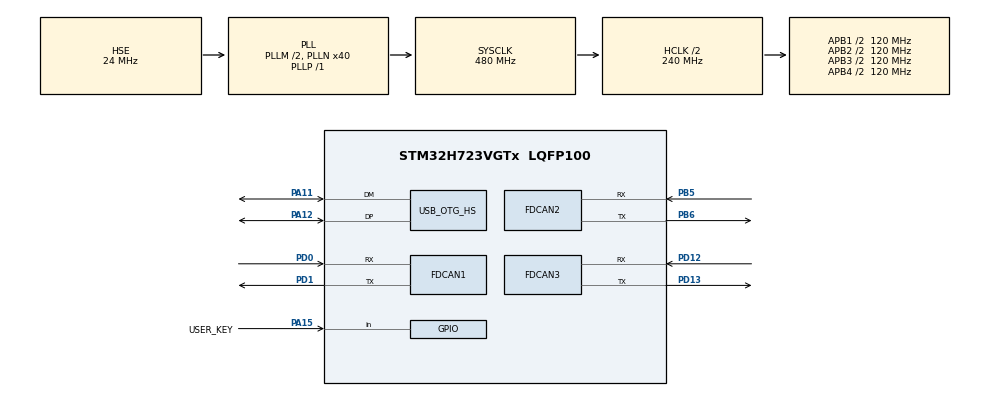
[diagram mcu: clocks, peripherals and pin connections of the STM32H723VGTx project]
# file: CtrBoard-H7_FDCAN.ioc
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CORTEX_M7.CPU_DCache=Enabled
CORTEX_M7.CPU_ICache=Enabled
FDCAN1.AutoRetransmission=ENABLE
FDCAN1.CalculateBaudRateNominal=1000000
FDCAN1.CalculateTimeBitNominal=1000
FDCAN1.CalculateTimeQuantumNominal=12.5
FDCAN1.DataSyncJumpWidth=2
FDCAN1.DataTimeSeg1=13
FDCAN1.DataTimeSeg2=2
FDCAN1.ExtFiltersNbr=4
FDCAN1.Mode=FDCAN_MODE_NORMAL
FDCAN1.NominalPrescaler=1
FDCAN1.NominalSyncJumpWidth=20
FDCAN1.NominalTimeSeg1=59
FDCAN1.NominalTimeSeg2=20
FDCAN1.ProtocolException=ENABLE
FDCAN1.RxBuffersNbr=2
FDCAN1.RxFifo0ElmtsNbr=8
FDCAN1.RxFifo1ElmtsNbr=8
FDCAN1.StdFiltersNbr=7
FDCAN1.TransmitPause=DISABLE
FDCAN1.TxBuffersNbr=8
FDCAN1.TxEventsNbr=8
FDCAN1.TxFifoQueueElmtsNbr=8
FDCAN2.AutoRetransmission=ENABLE
FDCAN2.CalculateBaudRateNominal=1000000
FDCAN2.CalculateTimeBitNominal=1000
FDCAN2.CalculateTimeQuantumNominal=12.5
FDCAN2.DataSyncJumpWidth=2
FDCAN2.DataTimeSeg1=13
FDCAN2.ExtFiltersNbr=4
FDCAN2.MessageRAMOffset=0x406
FDCAN2.Mode=FDCAN_MODE_NORMAL
FDCAN2.NominalPrescaler=1
FDCAN2.NominalSyncJumpWidth=20
FDCAN2.NominalTimeSeg1=59
FDCAN2.NominalTimeSeg2=20
FDCAN2.ProtocolException=ENABLE
FDCAN2.RxBuffersNbr=3
FDCAN2.RxFifo0ElmtsNbr=8
FDCAN2.RxFifo1ElmtsNbr=8
FDCAN2.StdFiltersNbr=4
FDCAN2.TxBuffersNbr=8
FDCAN2.TxEventsNbr=8
FDCAN2.TxFifoQueueElmtsNbr=8
FDCAN3.CalculateBaudRateNominal=1000000
FDCAN3.CalculateTimeBitNominal=1000
FDCAN3.CalculateTimeQuantumNominal=12.5
FDCAN3.DataSyncJumpWidth=2
FDCAN3.DataTimeSeg1=13
FDCAN3.DataTimeSeg2=2
FDCAN3.ExtFiltersNbr=4
FDCAN3.MessageRAMOffset=0x812
FDCAN3.Mode=FDCAN_MODE_NORMAL
FDCAN3.NominalPrescaler=1
FDCAN3.NominalSyncJumpWidth=20
FDCAN3.NominalTimeSeg1=59
FDCAN3.NominalTimeSeg2=20
FDCAN3.RxBuffersNbr=2
FDCAN3.RxFifo0ElmtsNbr=8
FDCAN3.RxFifo1ElmtsNbr=8
FDCAN3.StdFiltersNbr=4
FDCAN3.TxBuffersNbr=8
FDCAN3.TxEventsNbr=8
FDCAN3.TxFifoQueueElmtsNbr=8
FREERTOS.INCLUDE_uxTaskGetStackHighWaterMark=1
FREERTOS.INCLUDE_vTaskDelayUntil=1
FREERTOS.Tasks01=ArmControlTask,3,768,StartArmControlTask,Default,NULL,Static,armControlTaskBuffer,armControlTaskControlBlock;CanRxTask,3,384,StartCanRxTask,Default,NULL,Static,canRxTaskBuffer,canRxTaskControlBlock;ProtocolTask,2,1280,StartProtocolTask,Default,NULL,Static,protocolTaskBuffer,protocolTaskControlBlock;UsbTxTask,1,384,StartUsbTxTask,Default,NULL,Static,usbTxTaskBuffer,usbTxTaskControlBlock;TelemetryTask,0,1024,StartTelemetryTask,Default,NULL,Static,telemetryTaskBuffer,telemetryTaskControlBlock;DiagnosticsTask,-1,384,StartDiagnosticsTask,Default,NULL,Static,diagnosticsTaskBuffer,diagnosticsTaskControlBlock
Mcu.Family=STM32H7
Mcu.Name=STM32H723VGTx
Mcu.Package=LQFP100
NVIC.FDCAN1_IT0_IRQn=true\:5\:0\:false\:false\:true\:true\:true\:true\:true
NVIC.FDCAN1_IT1_IRQn=true\:5\:0\:false\:false\:true\:true\:true\:true\:true
NVIC.FDCAN2_IT0_IRQn=true\:5\:0\:false\:false\:true\:true\:true\:true\:true
NVIC.FDCAN2_IT1_IRQn=true\:5\:0\:false\:false\:true\:true\:true\:true\:true
NVIC.FDCAN3_IT0_IRQn=true\:5\:0\:false\:false\:true\:true\:true\:true\:true
NVIC.FDCAN3_IT1_IRQn=true\:5\:0\:false\:false\:true\:true\:true\:true\:true
NVIC.OTG_HS_IRQn=true\:5\:0\:false\:false\:true\:true\:false\:true\:true
NVIC.PriorityGroup=NVIC_PRIORITYGROUP_4
NVIC.TIM23_IRQn=true\:15\:0\:false\:false\:true\:false\:false\:true\:true
NVIC.TimeBase=TIM23_IRQn
NVIC.TimeBaseIP=TIM23
PA11.Mode=Device_Only_FS
PA11.Signal=USB_OTG_HS_DM
PA12.Mode=Device_Only_FS
PA12.Signal=USB_OTG_HS_DP
PA13(JTMS/SWDIO).Mode=Serial_Wire
PA13(JTMS/SWDIO).Signal=DEBUG_JTMS-SWDIO
PA14(JTCK/SWCLK).Mode=Serial_Wire
PA14(JTCK/SWCLK).Signal=DEBUG_JTCK-SWCLK
PA15(JTDI).GPIO_Label=USER_KEY
PA15(JTDI).Signal=GPIO_Input
PB5.Mode=FDCAN_Activate
PB5.Signal=FDCAN2_RX
PB6.Mode=FDCAN_Activate
PB6.Signal=FDCAN2_TX
PD0.Mode=FDCAN_Activate
PD0.Signal=FDCAN1_RX
PD1.Mode=FDCAN_Activate
PD1.Signal=FDCAN1_TX
PD12.Mode=FDCAN_Activate
PD12.Signal=FDCAN3_RX
PD13.Mode=FDCAN_Activate
PD13.Signal=FDCAN3_TX
PH0-OSC_IN.Mode=HSE-External-Oscillator
PH0-OSC_IN.Signal=RCC_OSC_IN
PH1-OSC_OUT.Mode=HSE-External-Oscillator
PH1-OSC_OUT.Signal=RCC_OSC_OUT
ProjectManager.HeapSize=0x200
ProjectManager.StackSize=0x400
ProjectManager.TargetToolchain=MDK-ARM V5.32
RCC.ADCFreq_Value=48375000
RCC.APB1Freq_Value=120000000
RCC.APB2Freq_Value=120000000
RCC.APB3Freq_Value=120000000
RCC.APB4Freq_Value=120000000
RCC.CortexFreq_Value=480000000
RCC.D1PPRE=RCC_APB3_DIV2
RCC.D2PPRE1=RCC_APB1_DIV2
RCC.D2PPRE2=RCC_APB2_DIV2
RCC.D3PPRE=RCC_APB4_DIV2
RCC.DIVM1=2
RCC.DIVN1=40
RCC.DIVP1=1
RCC.DIVQ1=6
RCC.HCLKFreq_Value=240000000
RCC.HPRE=RCC_HCLK_DIV2
RCC.HSE_VALUE=24000000
RCC.PLLFRACN=0
RCC.PLLSourceVirtual=RCC_PLLSOURCE_HSE
RCC.SYSCLKFreq_VALUE=480000000
RCC.SYSCLKSource=RCC_SYSCLKSOURCE_PLLCLK
RCC.USBCLockSelection=RCC_USBCLKSOURCE_HSI48
RCC.USBFreq_Value=48000000
USB_DEVICE.CLASS_NAME_HS=CDC
USB_DEVICE.VirtualMode=Cdc
USB_DEVICE.VirtualModeHS=Cdc_HS
USB_OTG_HS.VirtualMode-Device_Only_FS=Device_Only_FS
VP_FREERTOS_VS_CMSIS_V1.Mode=CMSIS_V1
VP_SYS_VS_tim23.Mode=TIM23
VP_USB_DEVICE_VS_USB_DEVICE_CDC_HS.Mode=CDC_HS
board=custom

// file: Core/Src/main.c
/* USER CODE BEGIN Header */
/**
  ******************************************************************************
  * @file           : main.c
  * @brief          : Main program body
  ******************************************************************************
  * @attention
  *
  * Copyright (c) 2024 STMicroelectronics.
  * All rights reserved.
  *
  * This software is licensed under terms that can be found in the LICENSE file
  * in the root directory of this software component.
  * If no LICENSE file comes with this software, it is provided AS-IS.
  *
  ******************************************************************************
  */
/* USER CODE END Header */
#include "main.h"
#include "cmsis_os.h"
#include "fdcan.h"
#include "usb_device.h"
#include "gpio.h"

/* USER CODE BEGIN Includes */
#include "aethor_app.h"
#include "arm_config.h"
#include "stm32_platform.h"
/* USER CODE END Includes */

void SystemClock_Config(void);
void MX_FREERTOS_Init(void);
/* USER CODE BEGIN PFP */
static uint32_t CreateBootId(void);

/* USER CODE END PFP */

int main(void)
{

  /* Enable the CPU Cache */

  /* Enable I-Cache---------------------------------------------------------*/
  SCB_EnableICache();

  /* Enable D-Cache---------------------------------------------------------*/
  SCB_EnableDCache();

  /* MCU Configuration--------------------------------------------------------*/

  /* Reset of all peripherals, Initializes the Flash interface and the Systick. */
  HAL_Init();

  /* Configure the system clock */
  SystemClock_Config();

  /* Initialize all configured peripherals */
  MX_GPIO_Init();
  MX_FDCAN1_Init();
  MX_FDCAN2_Init();
  MX_FDCAN3_Init();
  /* USER CODE BEGIN 2 */
  (void)stm32_platform_init(arm_config_get_production());
  aethor_app_init((uint64_t)HAL_GetTick() * 1000ULL, CreateBootId());
  /* USER CODE END 2 */

  /* Call init function for freertos objects (in cmsis_os2.c) */
  MX_FREERTOS_Init();

  /* Start scheduler */
  osKernelStart();

  /* We should never get here as control is now taken by the scheduler */

  /* Infinite loop */
  while (1)
  {

  }
}

void SystemClock_Config(void)
{
  RCC_OscInitTypeDef RCC_OscInitStruct = {0};
  RCC_ClkInitTypeDef RCC_ClkInitStruct = {0};

  /** Supply configuration update enable
  */
  HAL_PWREx_ConfigSupply(PWR_LDO_SUPPLY);

  /** Configure the main internal regulator output voltage
  */
  __HAL_PWR_VOLTAGESCALING_CONFIG(PWR_REGULATOR_VOLTAGE_SCALE0);

  while(!__HAL_PWR_GET_FLAG(PWR_FLAG_VOSRDY)) {}

  /** Initializes the RCC Oscillators according to the specified parameters
  * in the RCC_OscInitTypeDef structure.
  */
  RCC_OscInitStruct.OscillatorType = RCC_OSCILLATORTYPE_HSI48|RCC_OSCILLATORTYPE_HSE;
  RCC_OscInitStruct.HSEState = RCC_HSE_ON;
  RCC_OscInitStruct.HSI48State = RCC_HSI48_ON;
  RCC_OscInitStruct.PLL.PLLState = RCC_PLL_ON;
  RCC_OscInitStruct.PLL.PLLSource = RCC_PLLSOURCE_HSE;
  RCC_OscInitStruct.PLL.PLLM = 2;
  RCC_OscInitStruct.PLL.PLLN = 40;
  RCC_OscInitStruct.PLL.PLLP = 1;
  RCC_OscInitStruct.PLL.PLLQ = 6;
  RCC_OscInitStruct.PLL.PLLR = 2;
  RCC_OscInitStruct.PLL.PLLRGE = RCC_PLL1VCIRANGE_3;
  RCC_OscInitStruct.PLL.PLLVCOSEL = RCC_PLL1VCOWIDE;
  RCC_OscInitStruct.PLL.PLLFRACN = 0;
  if (HAL_RCC_OscConfig(&RCC_OscInitStruct) != HAL_OK)
  {
    Error_Handler();
  }

  /** Initializes the CPU, AHB and APB buses clocks
  */
  RCC_ClkInitStruct.ClockType = RCC_CLOCKTYPE_HCLK|RCC_CLOCKTYPE_SYSCLK
                              |RCC_CLOCKTYPE_PCLK1|RCC_CLOCKTYPE_PCLK2
                              |RCC_CLOCKTYPE_D3PCLK1|RCC_CLOCKTYPE_D1PCLK1;
  RCC_ClkInitStruct.SYSCLKSource = RCC_SYSCLKSOURCE_PLLCLK;
  RCC_ClkInitStruct.SYSCLKDivider = RCC_SYSCLK_DIV1;
  RCC_ClkInitStruct.AHBCLKDivider = RCC_HCLK_DIV2;
  RCC_ClkInitStruct.APB3CLKDivider = RCC_APB3_DIV2;
  RCC_ClkInitStruct.APB1CLKDivider = RCC_APB1_DIV2;
  RCC_ClkInitStruct.APB2CLKDivider = RCC_APB2_DIV2;
  RCC_ClkInitStruct.APB4CLKDivider = RCC_APB4_DIV2;

  if (HAL_RCC_ClockConfig(&RCC_ClkInitStruct, FLASH_LATENCY_3) != HAL_OK)
  {
    Error_Handler();
  }
}

/* USER CODE BEGIN 4 */

/**
  * @brief  Creates a nonzero per-boot correlation identifier from local MCU state.
  * @retval Nonzero boot identifier used by the serial protocol.
  */
static uint32_t CreateBootId(void)
{
  uint32_t bootId = HAL_GetUIDw0() ^ HAL_GetUIDw1() ^ HAL_GetUIDw2() ^
                    HAL_GetTick() ^ SysTick->VAL ^ DWT->CYCCNT ^ 0xA37E2026UL;

  if (bootId == 0U)
  {
    bootId = 1U;
  }
  return bootId;
}

/* USER CODE END 4 */

void HAL_TIM_PeriodElapsedCallback(TIM_HandleTypeDef *htim)
{
  if (htim->Instance == TIM23) {
    HAL_IncTick();
  }
}

void Error_Handler(void)
{
  __disable_irq();
  while (1)
  {
  }
}

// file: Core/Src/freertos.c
/* USER CODE BEGIN Header */
/**
  ******************************************************************************
  * File Name          : freertos.c
  * Description        : Code for freertos applications
  ******************************************************************************
  * @attention
  *
  * Copyright (c) 2026 STMicroelectronics.
  * All rights reserved.
  *
  * This software is licensed under terms that can be found in the LICENSE file
  * in the root directory of this software component.
  * If no LICENSE file comes with this software, it is provided AS-IS.
  *
  ******************************************************************************
  */
/* USER CODE END Header */

#include "FreeRTOS.h"
#include "task.h"
#include "main.h"
#include "cmsis_os.h"

/* USER CODE BEGIN Includes */
#include "aethor_app.h"
#include "monotonic_time.h"
#include "stm32_platform.h"
#include <string.h>
/* USER CODE END Includes */

/* USER CODE BEGIN Variables */
static AethorMonotonicTimeState aethorMonotonicTimeState;
/* USER CODE END Variables */
osThreadId ArmControlTaskHandle;
uint32_t armControlTaskBuffer[ 768 ];
osStaticThreadDef_t armControlTaskControlBlock;
osThreadId CanRxTaskHandle;
uint32_t canRxTaskBuffer[ 384 ];
osStaticThreadDef_t canRxTaskControlBlock;
osThreadId ProtocolTaskHandle;
uint32_t protocolTaskBuffer[ 1280 ];
osStaticThreadDef_t protocolTaskControlBlock;
osThreadId UsbTxTaskHandle;
uint32_t usbTxTaskBuffer[ 384 ];
osStaticThreadDef_t usbTxTaskControlBlock;
osThreadId TelemetryTaskHandle;
uint32_t telemetryTaskBuffer[ 1024 ];
osStaticThreadDef_t telemetryTaskControlBlock;
osThreadId DiagnosticsTaskHandle;
uint32_t diagnosticsTaskBuffer[ 384 ];
osStaticThreadDef_t diagnosticsTaskControlBlock;

/* USER CODE BEGIN FunctionPrototypes */
static void NotifyCanRxTaskFromIsr(void);
static void NotifyProtocolTaskFromIsr(void);
static void NotifyUsbTxTaskFromIsr(void);
static void QueueProtocolOutputBatch(const ProtocolOutputBatch *outputBatch);
static uint64_t AethorMonotonicTimestampUs(void);
static void EnterAethorAppTaskCritical(void);
static void ExitAethorAppTaskCritical(void);

/* USER CODE END FunctionPrototypes */

void StartArmControlTask(void const * argument);
void StartCanRxTask(void const * argument);
void StartProtocolTask(void const * argument);
void StartUsbTxTask(void const * argument);
void StartTelemetryTask(void const * argument);
void StartDiagnosticsTask(void const * argument);

extern void MX_USB_DEVICE_Init(void);
void MX_FREERTOS_Init(void); /* (MISRA C 2004 rule 8.1) */

/* GetIdleTaskMemory prototype (linked to static allocation support) */
void vApplicationGetIdleTaskMemory( StaticTask_t **ppxIdleTaskTCBBuffer, StackType_t **ppxIdleTaskStackBuffer, uint32_t *pulIdleTaskStackSize );

/* USER CODE BEGIN GET_IDLE_TASK_MEMORY */
static StaticTask_t xIdleTaskTCBBuffer;
static StackType_t xIdleStack[configMINIMAL_STACK_SIZE];

void vApplicationGetIdleTaskMemory( StaticTask_t **ppxIdleTaskTCBBuffer, StackType_t **ppxIdleTaskStackBuffer, uint32_t *pulIdleTaskStackSize )
{
  *ppxIdleTaskTCBBuffer = &xIdleTaskTCBBuffer;
  *ppxIdleTaskStackBuffer = &xIdleStack[0];
  *pulIdleTaskStackSize = configMINIMAL_STACK_SIZE;
  /* place for user code */
}
/* USER CODE END GET_IDLE_TASK_MEMORY */

void MX_FREERTOS_Init(void) {
  /* USER CODE BEGIN Init */
  aethor_app_set_task_critical_hooks(EnterAethorAppTaskCritical,
                                     ExitAethorAppTaskCritical);

  /* USER CODE END Init */

  /* Create the thread(s) */
  /* definition and creation of ArmControlTask */
  osThreadStaticDef(ArmControlTask, StartArmControlTask, osPriorityRealtime, 0, 768, armControlTaskBuffer, &armControlTaskControlBlock);
  ArmControlTaskHandle = osThreadCreate(osThread(ArmControlTask), NULL);

  /* definition and creation of CanRxTask */
  osThreadStaticDef(CanRxTask, StartCanRxTask, osPriorityHigh, 0, 384, canRxTaskBuffer, &canRxTaskControlBlock);
  CanRxTaskHandle = osThreadCreate(osThread(CanRxTask), NULL);

  /* definition and creation of ProtocolTask */
  osThreadStaticDef(ProtocolTask, StartProtocolTask, osPriorityAboveNormal, 0, 1280, protocolTaskBuffer, &protocolTaskControlBlock);
  ProtocolTaskHandle = osThreadCreate(osThread(ProtocolTask), NULL);

  /* definition and creation of UsbTxTask */
  osThreadStaticDef(UsbTxTask, StartUsbTxTask, osPriorityNormal, 0, 384, usbTxTaskBuffer, &usbTxTaskControlBlock);
  UsbTxTaskHandle = osThreadCreate(osThread(UsbTxTask), NULL);

  /* definition and creation of TelemetryTask */
  osThreadStaticDef(TelemetryTask, StartTelemetryTask, osPriorityBelowNormal, 0, 1024, telemetryTaskBuffer, &telemetryTaskControlBlock);
  TelemetryTaskHandle = osThreadCreate(osThread(TelemetryTask), NULL);

  /* definition and creation of DiagnosticsTask */
  osThreadStaticDef(DiagnosticsTask, StartDiagnosticsTask, osPriorityLow, 0, 384, diagnosticsTaskBuffer, &diagnosticsTaskControlBlock);
  DiagnosticsTaskHandle = osThreadCreate(osThread(DiagnosticsTask), NULL);

  /* USER CODE BEGIN RTOS_THREADS */
  configASSERT(ArmControlTaskHandle != NULL);
  configASSERT(CanRxTaskHandle != NULL);
  configASSERT(ProtocolTaskHandle != NULL);
  configASSERT(UsbTxTaskHandle != NULL);
  configASSERT(TelemetryTaskHandle != NULL);
  configASSERT(DiagnosticsTaskHandle != NULL);
  stm32_platform_set_isr_notifiers(NotifyCanRxTaskFromIsr,
                                   NotifyProtocolTaskFromIsr,
                                   NotifyUsbTxTaskFromIsr);
  /* USER CODE END RTOS_THREADS */

}

/* USER CODE BEGIN Header_StartArmControlTask */
/**
  * @brief  Runs the 4 ms absolute-period arm control service.
  * @param  argument: Not used
  * @retval None
  */
/* USER CODE END Header_StartArmControlTask */
void StartArmControlTask(void const * argument)
{
  /* USER CODE BEGIN StartArmControlTask */
  TickType_t lastWakeTime = xTaskGetTickCount();

  (void)argument;
  for(;;)
  {
    uint64_t timestampUs = AethorMonotonicTimestampUs();
    CanFrame pendingFrame;
    CanFrame controlGroup[ARM_JOINT_COUNT];
    CanTxPriority pendingPriority;

    if ((aethor_app_service(timestampUs) != 0U) &&
        (ProtocolTaskHandle != NULL))
    {
      (void)xTaskNotifyGive((TaskHandle_t)ProtocolTaskHandle);
    }
    while (aethor_app_pop_emergency_can_frame(&pendingFrame) != 0U)
    {
      (void)stm32_platform_can_submit(CAN_TX_PRIORITY_EMERGENCY,
                                      &pendingFrame);
    }
    if (aethor_app_pop_control_group(controlGroup) != 0U)
    {
      CanTxSchedulerStatus controlGroupStatus =
          stm32_platform_can_submit_control_group(controlGroup,
                                                  ARM_JOINT_COUNT);

      if ((controlGroupStatus != CAN_TX_SCHEDULER_STATUS_OK) &&
          (aethor_app_report_control_group_failure(controlGroupStatus,
                                                   timestampUs) != 0U) &&
          (ProtocolTaskHandle != NULL))
      {
        (void)xTaskNotifyGive((TaskHandle_t)ProtocolTaskHandle);
      }
    }
    if (aethor_app_next_can_frame(timestampUs,
                                  &pendingFrame,
                                  &pendingPriority) ==
        MOTOR_RUNTIME_STATUS_FRAME_READY)
    {
      (void)stm32_platform_can_submit(pendingPriority, &pendingFrame);
    }
    (void)stm32_platform_can_service_tx(ARM_JOINT_COUNT);
    vTaskDelayUntil(&lastWakeTime, pdMS_TO_TICKS(4U));
  }
  /* USER CODE END StartArmControlTask */
}

/* USER CODE BEGIN Header_StartCanRxTask */
/**
  * @brief  Waits for FDCAN RX notification before bounded task-context decode.
  * @param  argument: Not used
  * @retval None
  */
/* USER CODE END Header_StartCanRxTask */
void StartCanRxTask(void const * argument)
{
  (void)argument;
  for(;;)
  {
    uint8_t processedFrameCount = 0U;
    CanFrame receivedFrame;

    while ((processedFrameCount < CAN_RX_INBOX_CAPACITY) &&
           (stm32_platform_can_pop_received(&receivedFrame) ==
            CAN_RX_INBOX_STATUS_OK))
    {
      uint64_t timestampUs = AethorMonotonicTimestampUs();

      taskENTER_CRITICAL();
      (void)aethor_app_receive_can_frame(&receivedFrame, timestampUs);
      taskEXIT_CRITICAL();
      ++processedFrameCount;
    }
    if (processedFrameCount < CAN_RX_INBOX_CAPACITY)
    {
      (void)ulTaskNotifyTake(pdTRUE, portMAX_DELAY);
    }
    else
    {
      taskYIELD();
    }
  }
}

/* USER CODE BEGIN Header_StartProtocolTask */
/**
  * @brief  Owns USB startup and waits for complete protocol input work.
  * @param  argument: Not used
  * @retval None
  */
/* USER CODE END Header_StartProtocolTask */
void StartProtocolTask(void const * argument)
{
  char protocolLine[USB_CDC_STREAM_LINE_CAPACITY];
  ProtocolOutputBatch outputBatch;

  MX_USB_DEVICE_Init();
  (void)argument;
  for(;;)
  {
    UsbCdcStreamStatus lineStatus;

    (void)ulTaskNotifyTake(pdTRUE, portMAX_DELAY);
    while (aethor_app_pop_protocol_result_output(&outputBatch) != 0U)
    {
      QueueProtocolOutputBatch(&outputBatch);
    }
    do
    {
      uint16_t lineLength = 0U;

      lineStatus = stm32_platform_usb_next_line(protocolLine,
                                                sizeof(protocolLine),
                                                &lineLength);
      if (lineStatus == USB_CDC_STREAM_STATUS_OK)
      {
        (void)aethor_app_process_protocol_line(
            protocolLine,
            lineLength,
            AethorMonotonicTimestampUs(),
            &outputBatch);
        QueueProtocolOutputBatch(&outputBatch);
      }
      else if (lineStatus == USB_CDC_STREAM_STATUS_LINE_TOO_LONG)
      {
        if (aethor_app_format_line_too_long(&outputBatch) ==
            PROTOCOL_ENGINE_STATUS_OK)
        {
          QueueProtocolOutputBatch(&outputBatch);
        }
      }
    } while ((lineStatus == USB_CDC_STREAM_STATUS_OK) ||
             (lineStatus == USB_CDC_STREAM_STATUS_LINE_TOO_LONG));
  }
}

/* USER CODE BEGIN Header_StartUsbTxTask */
/**
  * @brief  Services priority-ordered USB CDC output without blocking control.
  * @param  argument: Not used
  * @retval None
  */
/* USER CODE END Header_StartUsbTxTask */
void StartUsbTxTask(void const * argument)
{
  (void)argument;
  for(;;)
  {
    (void)ulTaskNotifyTake(pdTRUE, pdMS_TO_TICKS(1U));
    stm32_platform_usb_service_tx();
  }
}

/* USER CODE BEGIN Header_StartTelemetryTask */
/**
  * @brief  Reserves the default 50 Hz telemetry publication cadence.
  * @param  argument: Not used
  * @retval None
  */
/* USER CODE END Header_StartTelemetryTask */
void StartTelemetryTask(void const * argument)
{
  TickType_t lastWakeTime = xTaskGetTickCount();

  (void)argument;
  for(;;)
  {
    ProtocolOutputBatch outputBatch;

    if (aethor_app_generate_stream_output(
            AethorMonotonicTimestampUs(),
            &outputBatch) != 0U)
    {
      QueueProtocolOutputBatch(&outputBatch);
    }
    vTaskDelayUntil(&lastWakeTime, pdMS_TO_TICKS(10U));
  }
}

/* USER CODE BEGIN Header_StartDiagnosticsTask */
/**
  * @brief  Reserves the 100 ms diagnostics aggregation cadence.
  * @param  argument: Not used
  * @retval None
  */
/* USER CODE END Header_StartDiagnosticsTask */
void StartDiagnosticsTask(void const * argument)
{
  TickType_t lastWakeTime = xTaskGetTickCount();
  uint32_t previousCanRxOverflowCount = 0U;
  uint32_t previousCanBusOffCount = 0U;
  uint32_t previousUsbHighQueueFullCount = 0U;

  (void)argument;
  for(;;)
  {
    const Stm32PlatformDiagnostics *platformDiagnostics =
        stm32_platform_get_diagnostics();
    RuntimeDiagnosticSample runtimeSample;
    TaskHandle_t applicationTaskHandles[6];
    uint32_t minimumStackWords = UINT32_MAX;
    uint8_t taskIndex;

    memset(&runtimeSample, 0, sizeof(runtimeSample));
    applicationTaskHandles[0] = (TaskHandle_t)ArmControlTaskHandle;
    applicationTaskHandles[1] = (TaskHandle_t)CanRxTaskHandle;
    applicationTaskHandles[2] = (TaskHandle_t)ProtocolTaskHandle;
    applicationTaskHandles[3] = (TaskHandle_t)UsbTxTaskHandle;
    applicationTaskHandles[4] = (TaskHandle_t)TelemetryTaskHandle;
    applicationTaskHandles[5] = (TaskHandle_t)DiagnosticsTaskHandle;
    for (taskIndex = 0U; taskIndex < 6U; ++taskIndex)
    {
      if (applicationTaskHandles[taskIndex] != NULL)
      {
        UBaseType_t stackWords = uxTaskGetStackHighWaterMark(
            applicationTaskHandles[taskIndex]);

        if ((uint32_t)stackWords < minimumStackWords)
        {
          minimumStackWords = (uint32_t)stackWords;
        }
      }
    }
    runtimeSample.can_rx_frames = platformDiagnostics->can_rx_frame_count;
    runtimeSample.can_tx_frames = platformDiagnostics->can_tx_success_count;
    runtimeSample.can_rx_overflow_count =
        platformDiagnostics->can_rx_overflow_count;
    runtimeSample.can_tx_error_count = platformDiagnostics->can_tx_error_count;
    runtimeSample.can_bus_off_count = platformDiagnostics->can_bus_off_count;
    runtimeSample.can_tx_queue_high_watermark =
        platformDiagnostics->can_tx_queue_high_watermark;
    runtimeSample.control_group_reject_count =
        platformDiagnostics->control_group_reject_count;
    runtimeSample.usb_rx_bytes = platformDiagnostics->usb_rx_byte_count;
    runtimeSample.usb_rx_overflow_count =
        platformDiagnostics->usb_rx_overflow_count;
    runtimeSample.usb_overlong_line_count =
        platformDiagnostics->usb_overlong_line_count;
    runtimeSample.usb_high_queue_high_watermark =
        platformDiagnostics->usb_high_queue_high_watermark;
    runtimeSample.usb_query_queue_high_watermark =
        platformDiagnostics->usb_query_queue_high_watermark;
    runtimeSample.usb_telemetry_queue_high_watermark =
        platformDiagnostics->usb_telemetry_queue_high_watermark;
    runtimeSample.usb_telemetry_drop_count =
        platformDiagnostics->usb_telemetry_drop_count;
    runtimeSample.usb_high_queue_full_count =
        platformDiagnostics->usb_high_queue_full_count;
    runtimeSample.usb_transmit_busy_count =
        platformDiagnostics->usb_transmit_busy_count;
    runtimeSample.usb_transmit_error_count =
        platformDiagnostics->usb_transmit_error_count;
    runtimeSample.control_group_skew_max_us =
        DIAGNOSTIC_WATERMARK_NOT_SAMPLED;
    runtimeSample.minimum_stack_words = minimumStackWords;
    runtimeSample.minimum_heap_bytes = (uint32_t)xPortGetFreeHeapSize();
    aethor_app_update_runtime_diagnostics(&runtimeSample);
    {
      uint32_t transportFaultDetail = 0U;

      if (platformDiagnostics->can_rx_overflow_count >
          previousCanRxOverflowCount)
      {
        transportFaultDetail |= 1U;
      }
      if (platformDiagnostics->can_bus_off_count > previousCanBusOffCount)
      {
        transportFaultDetail |= 2U;
      }
      if (platformDiagnostics->usb_high_queue_full_count >
          previousUsbHighQueueFullCount)
      {
        transportFaultDetail |= 4U;
      }
      previousCanRxOverflowCount =
          platformDiagnostics->can_rx_overflow_count;
      previousCanBusOffCount = platformDiagnostics->can_bus_off_count;
      previousUsbHighQueueFullCount =
          platformDiagnostics->usb_high_queue_full_count;
      if ((transportFaultDetail != 0U) &&
           (aethor_app_report_transport_fault(
                transportFaultDetail,
                AethorMonotonicTimestampUs()) != 0U) &&
          (ArmControlTaskHandle != NULL))
      {
        (void)xTaskNotifyGive((TaskHandle_t)ArmControlTaskHandle);
      }
    }
    vTaskDelayUntil(&lastWakeTime, pdMS_TO_TICKS(100U));
  }
}

/* USER CODE BEGIN Application */

/** @brief Enters the scheduler boundary shared by app query readers. */
static void EnterAethorAppTaskCritical(void)
{
  taskENTER_CRITICAL();
}

/** @brief Exits the scheduler boundary shared by app query readers. */
static void ExitAethorAppTaskCritical(void)
{
  taskEXIT_CRITICAL();
}

/**
 * @brief Returns one shared 64-bit timestamp extended from the wrapping HAL tick.
 * @return Monotonic timestamp in microseconds.
 */
static uint64_t AethorMonotonicTimestampUs(void)
{
  uint64_t timestampUs;

  taskENTER_CRITICAL();
  timestampUs = aethor_monotonic_time_update(&aethorMonotonicTimeState,
                                              HAL_GetTick());
  taskEXIT_CRITICAL();
  return timestampUs;
}

/** @brief Wakes CanRxTask from the FDCAN receive callback. */
static void NotifyCanRxTaskFromIsr(void)
{
  BaseType_t higherPriorityTaskWoken = pdFALSE;

  if (CanRxTaskHandle != NULL)
  {
    vTaskNotifyGiveFromISR((TaskHandle_t)CanRxTaskHandle, &higherPriorityTaskWoken);
    portYIELD_FROM_ISR(higherPriorityTaskWoken);
  }
}

/** @brief Wakes ProtocolTask from the USB CDC receive callback. */
static void NotifyProtocolTaskFromIsr(void)
{
  BaseType_t higherPriorityTaskWoken = pdFALSE;

  if (ProtocolTaskHandle != NULL)
  {
    vTaskNotifyGiveFromISR((TaskHandle_t)ProtocolTaskHandle, &higherPriorityTaskWoken);
    portYIELD_FROM_ISR(higherPriorityTaskWoken);
  }
}

/** @brief Wakes UsbTxTask when the CDC endpoint releases its active buffer. */
static void NotifyUsbTxTaskFromIsr(void)
{
  BaseType_t higherPriorityTaskWoken = pdFALSE;

  if (UsbTxTaskHandle != NULL)
  {
    vTaskNotifyGiveFromISR((TaskHandle_t)UsbTxTaskHandle, &higherPriorityTaskWoken);
    portYIELD_FROM_ISR(higherPriorityTaskWoken);
  }
}

/** @brief Routes encoded protocol outputs into their bounded USB priority queues. */
static void QueueProtocolOutputBatch(const ProtocolOutputBatch *outputBatch)
{
  uint8_t messageIndex;

  configASSERT(outputBatch != NULL);
  for (messageIndex = 0U; messageIndex < outputBatch->count; ++messageIndex)
  {
    const ProtocolOutputMessage *message = &outputBatch->messages[messageIndex];

    taskENTER_CRITICAL();
    if (message->priority == PROTOCOL_OUTPUT_HIGH_PRIORITY)
    {
      (void)stm32_platform_usb_queue_high_priority(
          (const uint8_t *)message->data,
          message->length);
    }
    else if (message->priority == PROTOCOL_OUTPUT_QUERY)
    {
      (void)stm32_platform_usb_queue_query((const uint8_t *)message->data,
                                           message->length);
    }
    else
    {
      (void)stm32_platform_usb_queue_telemetry(
          (const uint8_t *)message->data,
          message->length);
    }
    taskEXIT_CRITICAL();
  }
  if (UsbTxTaskHandle != NULL)
  {
    (void)xTaskNotifyGive((TaskHandle_t)UsbTxTaskHandle);
  }
}

/* USER CODE END Application */
